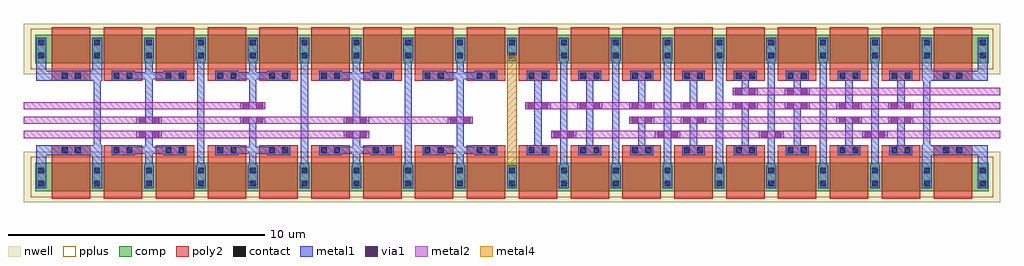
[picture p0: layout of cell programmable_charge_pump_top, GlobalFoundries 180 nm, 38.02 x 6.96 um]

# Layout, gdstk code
import gdstk
lib = gdstk.Library(unit=1e-6, precision=5e-09)
def R(c, l, rs):  # rectangles x0, y0, x1, y1
    for r in rs: c.add(gdstk.rectangle(r[:2], r[2:], *l))
def A(c, l, x, y, w, h, nx, ny, dx, dy):  # array of equal rectangles
    R(c, l, [(x+i*dx, y+j*dy, x+i*dx+w, y+j*dy+h) for i in range(nx) for j in range(ny)])
nwell = (21, 0)
comp = (22, 0)
poly2 = (30, 0)
pplus = (31, 0)
contact = (33, 0)
metal1 = (34, 0)
via1 = (35, 0)
metal2 = (36, 0)
metal4 = (46, 0)

pfet = lib.new_cell('pfet')

pfet_2 = lib.new_cell('pfet$2')
R(pfet_2, nwell, [(-0.9,-0.44,37.12,1.54)])
R(pfet_2, comp, [(-0.46,0,0,1.1), (0,0,36.22,1.1), (36.22,0,36.68,1.1)])
A(pfet_2, poly2, 0.19, -0.3, 1.5, 1.7, 18, 1, 2.02, 0)
A(pfet_2, poly2, 0.19, 1.4, 1.5, 0.38, 18, 1, 2.02, 0)
R(pfet_2, pplus, [(-0.63,-0.24,36.85,1.34)])
A(pfet_2, contact, 1.84, 0.185, 0.22, 0.22, 17, 2, 2.02, 0.51)
R(pfet_2, contact, [(-0.34,0.185,-0.12,0.405), (36.34,0.185,36.56,0.405), (-0.34,0.695,-0.12,0.915), (36.34,0.695,36.56,0.915), (0.575,1.48,0.795,1.7), (1.085,1.48,1.305,1.7), (2.595,1.48,2.815,1.7), (3.105,1.48,3.325,1.7), (4.615,1.48,4.835,1.7), (5.125,1.48,5.345,1.7), (6.635,1.48,6.855,1.7), (7.145,1.48,7.365,1.7), (8.655,1.48,8.875,1.7), (9.165,1.48,9.385,1.7), (10.675,1.48,10.895,1.7), (11.185,1.48,11.405,1.7), (12.695,1.48,12.915,1.7), (13.205,1.48,13.425,1.7), (14.715,1.48,14.935,1.7), (15.225,1.48,15.445,1.7), (16.735,1.48,16.955,1.7), (17.245,1.48,17.465,1.7), (18.755,1.48,18.975,1.7), (19.265,1.48,19.485,1.7), (20.775,1.48,20.995,1.7), (21.285,1.48,21.505,1.7), (22.795,1.48,23.015,1.7), (23.305,1.48,23.525,1.7), (24.815,1.48,25.035,1.7), (25.325,1.48,25.545,1.7), (26.835,1.48,27.055,1.7), (27.345,1.48,27.565,1.7), (28.855,1.48,29.075,1.7), (29.365,1.48,29.585,1.7), (30.875,1.48,31.095,1.7), (31.385,1.48,31.605,1.7), (32.895,1.48,33.115,1.7), (33.405,1.48,33.625,1.7), (34.915,1.48,35.135,1.7), (35.425,1.48,35.645,1.7)])
A(pfet_2, metal1, 1.76, 0.105, 0.38, 0.89, 17, 1, 2.02, 0)
A(pfet_2, metal1, 0.495, 1.4, 0.89, 0.38, 18, 1, 2.02, 0)
R(pfet_2, metal1, [(-0.42,0.105,-0.04,0.995), (36.26,0.105,36.64,0.995)])

pfet_3 = lib.new_cell('pfet$3')
R(pfet_3, nwell, [(-0.9,-0.44,37.12,1.54)])
R(pfet_3, comp, [(-0.46,0,0,1.1), (0,0,36.22,1.1), (36.22,0,36.68,1.1)])
A(pfet_3, poly2, 0.19, -0.68, 1.5, 0.38, 18, 1, 2.02, 0)
A(pfet_3, poly2, 0.19, -0.3, 1.5, 1.7, 18, 1, 2.02, 0)
R(pfet_3, pplus, [(-0.63,-0.24,36.85,1.34)])
A(pfet_3, contact, 1.84, 0.185, 0.22, 0.22, 17, 2, 2.02, 0.51)
R(pfet_3, contact, [(0.575,-0.6,0.795,-0.38), (1.085,-0.6,1.305,-0.38), (2.595,-0.6,2.815,-0.38), (3.105,-0.6,3.325,-0.38), (4.615,-0.6,4.835,-0.38), (5.125,-0.6,5.345,-0.38), (6.635,-0.6,6.855,-0.38), (7.145,-0.6,7.365,-0.38), (8.655,-0.6,8.875,-0.38), (9.165,-0.6,9.385,-0.38), (10.675,-0.6,10.895,-0.38), (11.185,-0.6,11.405,-0.38), (12.695,-0.6,12.915,-0.38), (13.205,-0.6,13.425,-0.38), (14.715,-0.6,14.935,-0.38), (15.225,-0.6,15.445,-0.38), (16.735,-0.6,16.955,-0.38), (17.245,-0.6,17.465,-0.38), (18.755,-0.6,18.975,-0.38), (19.265,-0.6,19.485,-0.38), (20.775,-0.6,20.995,-0.38), (21.285,-0.6,21.505,-0.38), (22.795,-0.6,23.015,-0.38), (23.305,-0.6,23.525,-0.38), (24.815,-0.6,25.035,-0.38), (25.325,-0.6,25.545,-0.38), (26.835,-0.6,27.055,-0.38), (27.345,-0.6,27.565,-0.38), (28.855,-0.6,29.075,-0.38), (29.365,-0.6,29.585,-0.38), (30.875,-0.6,31.095,-0.38), (31.385,-0.6,31.605,-0.38), (32.895,-0.6,33.115,-0.38), (33.405,-0.6,33.625,-0.38), (34.915,-0.6,35.135,-0.38), (35.425,-0.6,35.645,-0.38), (-0.34,0.185,-0.12,0.405), (36.34,0.185,36.56,0.405), (-0.34,0.695,-0.12,0.915), (36.34,0.695,36.56,0.915)])
A(pfet_3, metal1, 0.495, -0.68, 0.89, 0.38, 18, 1, 2.02, 0)
A(pfet_3, metal1, 1.76, 0.105, 0.38, 0.89, 17, 1, 2.02, 0)
R(pfet_3, metal1, [(-0.42,0.105,-0.04,0.995), (36.26,0.105,36.64,0.995)])

m1_m2 = lib.new_cell('M1_M2')
R(m1_m2, via1, [(0.1,0.01,0.36,0.27), (0.62,0.01,0.88,0.27)])
m1_m2.add(gdstk.FlexPath([(0,0.14),(0.98,0.14)], 0.28, ends="flush", simple_path=True, layer=34, datatype=0))  # metal1
m1_m2.add(gdstk.FlexPath([(0,0.14),(0.98,0.14)], 0.28, ends="flush", simple_path=True, layer=36, datatype=0))  # metal2

programmable_charge_pump = lib.new_cell('programmable_charge_pump_top')
programmable_charge_pump.add(gdstk.FlexPath([(1.32,4.075),(1.32,4.67),(2.045,4.67)], 0.38, ends="flush", simple_path=True, layer=34, datatype=0))  # metal1
programmable_charge_pump.add(gdstk.FlexPath([(2.935,4.67),(3.5,4.67),(3.5,4.075)], 0.38, ends="flush", simple_path=True, layer=34, datatype=0))  # metal1
programmable_charge_pump.add(gdstk.FlexPath([(1.32,8.165),(1.32,7.57),(2.045,7.57)], 0.38, ends="flush", simple_path=True, layer=34, datatype=0))  # metal1
programmable_charge_pump.add(gdstk.FlexPath([(2.935,7.57),(3.5,7.57),(3.5,8.165)], 0.38, ends="flush", simple_path=True, layer=34, datatype=0))  # metal1
programmable_charge_pump.add(gdstk.FlexPath([(35.82,4.075),(35.82,4.67),(36.385,4.67)], 0.38, ends="flush", simple_path=True, layer=34, datatype=0))  # metal1
programmable_charge_pump.add(gdstk.FlexPath([(37.275,4.67),(38,4.67),(38,4.075)], 0.38, ends="flush", simple_path=True, layer=34, datatype=0))  # metal1
programmable_charge_pump.add(gdstk.FlexPath([(35.82,8.165),(35.82,7.57),(36.385,7.57)], 0.38, ends="flush", simple_path=True, layer=34, datatype=0))  # metal1
programmable_charge_pump.add(gdstk.FlexPath([(37.275,7.57),(38,7.57),(38,8.165)], 0.38, ends="flush", simple_path=True, layer=34, datatype=0))  # metal1
programmable_charge_pump.add(gdstk.FlexPath([(35.82,4.67),(35.82,7.57)], 0.28, ends="flush", simple_path=True, layer=34, datatype=0))  # metal1
programmable_charge_pump.add(gdstk.FlexPath([(31.78,4.075),(31.78,8.165)], 0.28, ends="flush", simple_path=True, layer=34, datatype=0))  # metal1
programmable_charge_pump.add(gdstk.FlexPath([(27.74,4.075),(27.74,8.165)], 0.28, ends="flush", simple_path=True, layer=34, datatype=0))  # metal1
programmable_charge_pump.add(gdstk.FlexPath([(23.7,4.075),(23.7,8.165)], 0.28, ends="flush", simple_path=True, layer=34, datatype=0))  # metal1
programmable_charge_pump.add(gdstk.FlexPath([(3.5,4.67),(3.5,7.57)], 0.28, ends="flush", simple_path=True, layer=34, datatype=0))  # metal1
programmable_charge_pump.add(gdstk.FlexPath([(11.58,4.075),(11.58,8.165)], 0.28, ends="flush", simple_path=True, layer=34, datatype=0))  # metal1
programmable_charge_pump.add(gdstk.FlexPath([(15.62,4.075),(15.62,8.165)], 0.28, ends="flush", simple_path=True, layer=34, datatype=0))  # metal1
programmable_charge_pump.add(gdstk.FlexPath([(7.54,4.075),(7.54,8.165)], 0.28, ends="flush", simple_path=True, layer=34, datatype=0))  # metal1
programmable_charge_pump.add(gdstk.FlexPath([(20.67,7.38),(20.67,4.86)], 0.28, ends="flush", simple_path=True, layer=34, datatype=0))  # metal1
programmable_charge_pump.add(gdstk.FlexPath([(22.69,4.86),(22.69,7.38)], 0.28, ends="flush", simple_path=True, layer=34, datatype=0))  # metal1
programmable_charge_pump.add(gdstk.FlexPath([(21.68,4.075),(21.68,8.165)], 0.28, ends="flush", simple_path=True, layer=34, datatype=0))  # metal1
programmable_charge_pump.add(gdstk.FlexPath([(24.71,7.38),(24.71,6.54)], 0.28, ends="flush", simple_path=True, layer=34, datatype=0))  # metal1
programmable_charge_pump.add(gdstk.FlexPath([(26.73,7.38),(26.73,6.54)], 0.28, ends="flush", simple_path=True, layer=34, datatype=0))  # metal1
programmable_charge_pump.add(gdstk.FlexPath([(28.75,4.86),(28.75,6.26)], 0.28, ends="flush", simple_path=True, layer=34, datatype=0))  # metal1
programmable_charge_pump.add(gdstk.FlexPath([(30.77,4.86),(30.77,6.26)], 0.28, ends="flush", simple_path=True, layer=34, datatype=0))  # metal1
programmable_charge_pump.add(gdstk.FlexPath([(32.79,7.38),(32.79,6.54)], 0.28, ends="flush", simple_path=True, layer=34, datatype=0))  # metal1
programmable_charge_pump.add(gdstk.FlexPath([(34.81,7.38),(34.81,6.54)], 0.28, ends="flush", simple_path=True, layer=34, datatype=0))  # metal1
programmable_charge_pump.add(gdstk.FlexPath([(25.72,4.075),(25.72,8.165)], 0.28, ends="flush", simple_path=True, layer=34, datatype=0))  # metal1
programmable_charge_pump.add(gdstk.FlexPath([(29.76,4.075),(29.76,8.165)], 0.28, ends="flush", simple_path=True, layer=34, datatype=0))  # metal1
programmable_charge_pump.add(gdstk.FlexPath([(33.8,4.075),(33.8,8.165)], 0.28, ends="flush", simple_path=True, layer=34, datatype=0))  # metal1
programmable_charge_pump.add(gdstk.FlexPath([(26.73,4.86),(26.73,5.7)], 0.28, ends="flush", simple_path=True, layer=34, datatype=0))  # metal1
programmable_charge_pump.add(gdstk.FlexPath([(24.71,4.86),(24.71,5.7)], 0.28, ends="flush", simple_path=True, layer=34, datatype=0))  # metal1
programmable_charge_pump.add(gdstk.FlexPath([(32.79,4.86),(32.79,5.7)], 0.28, ends="flush", simple_path=True, layer=34, datatype=0))  # metal1
programmable_charge_pump.add(gdstk.FlexPath([(34.81,4.86),(34.81,5.7)], 0.28, ends="flush", simple_path=True, layer=34, datatype=0))  # metal1
programmable_charge_pump.add(gdstk.FlexPath([(30.77,7.38),(30.77,7.1)], 0.28, ends="flush", simple_path=True, layer=34, datatype=0))  # metal1
programmable_charge_pump.add(gdstk.FlexPath([(28.75,7.38),(28.75,7.1)], 0.28, ends="flush", simple_path=True, layer=34, datatype=0))  # metal1
programmable_charge_pump.add(gdstk.FlexPath([(17.075,7.57),(18.205,7.57)], 0.28, ends="flush", simple_path=True, layer=34, datatype=0))  # metal1
programmable_charge_pump.add(gdstk.FlexPath([(17.075,4.67),(18.205,4.67)], 0.28, ends="flush", simple_path=True, layer=34, datatype=0))  # metal1
programmable_charge_pump.add(gdstk.FlexPath([(17.64,4.075),(17.64,8.165)], 0.28, ends="flush", simple_path=True, layer=34, datatype=0))  # metal1
programmable_charge_pump.add(gdstk.FlexPath([(13.6,4.81),(13.6,5.14)], 0.28, ends="flush", simple_path=True, layer=34, datatype=0))  # metal1
programmable_charge_pump.add(gdstk.FlexPath([(13.035,7.57),(14.165,7.57)], 0.28, ends="flush", simple_path=True, layer=34, datatype=0))  # metal1
programmable_charge_pump.add(gdstk.FlexPath([(13.035,4.67),(14.165,4.67)], 0.28, ends="flush", simple_path=True, layer=34, datatype=0))  # metal1
programmable_charge_pump.add(gdstk.FlexPath([(13.6,4.075),(13.6,4.81)], 0.28, ends="flush", simple_path=True, layer=34, datatype=0))  # metal1
programmable_charge_pump.add(gdstk.FlexPath([(13.6,8.165),(13.6,7.43)], 0.28, ends="flush", simple_path=True, layer=34, datatype=0))  # metal1
programmable_charge_pump.add(gdstk.FlexPath([(8.995,7.57),(10.125,7.57)], 0.28, ends="flush", simple_path=True, layer=34, datatype=0))  # metal1
programmable_charge_pump.add(gdstk.FlexPath([(8.995,4.67),(10.125,4.67)], 0.28, ends="flush", simple_path=True, layer=34, datatype=0))  # metal1
programmable_charge_pump.add(gdstk.FlexPath([(9.56,4.075),(9.56,4.81)], 0.28, ends="flush", simple_path=True, layer=34, datatype=0))  # metal1
programmable_charge_pump.add(gdstk.FlexPath([(9.56,8.165),(9.56,7.43)], 0.28, ends="flush", simple_path=True, layer=34, datatype=0))  # metal1
programmable_charge_pump.add(gdstk.FlexPath([(4.955,7.57),(6.085,7.57)], 0.28, ends="flush", simple_path=True, layer=34, datatype=0))  # metal1
programmable_charge_pump.add(gdstk.FlexPath([(4.955,4.67),(6.085,4.67)], 0.28, ends="flush", simple_path=True, layer=34, datatype=0))  # metal1
programmable_charge_pump.add(gdstk.FlexPath([(5.52,4.075),(5.52,4.81)], 0.28, ends="flush", simple_path=True, layer=34, datatype=0))  # metal1
programmable_charge_pump.add(gdstk.FlexPath([(5.52,8.165),(5.52,7.43)], 0.28, ends="flush", simple_path=True, layer=34, datatype=0))  # metal1
programmable_charge_pump.add(gdstk.FlexPath([(13.6,7.43),(13.6,5.98)], 0.28, ends="flush", simple_path=True, layer=34, datatype=0))  # metal1
programmable_charge_pump.add(gdstk.FlexPath([(5.52,4.81),(5.52,5.14)], 0.28, ends="flush", simple_path=True, layer=34, datatype=0))  # metal1
programmable_charge_pump.add(gdstk.FlexPath([(5.52,7.43),(5.52,5.98)], 0.28, ends="flush", simple_path=True, layer=34, datatype=0))  # metal1
programmable_charge_pump.add(gdstk.FlexPath([(9.56,7.43),(9.56,6.54)], 0.28, ends="flush", simple_path=True, layer=34, datatype=0))  # metal1
programmable_charge_pump.add(gdstk.FlexPath([(9.56,4.81),(9.56,5.7)], 0.28, ends="flush", simple_path=True, layer=34, datatype=0))  # metal1
programmable_charge_pump.add(gdstk.FlexPath([(20.18,6.4),(38.67,6.4)], 0.28, ends="flush", simple_path=True, layer=36, datatype=0))  # metal2
programmable_charge_pump.add(gdstk.FlexPath([(21.19,5.28),(38.67,5.28)], 0.28, ends="flush", simple_path=True, layer=36, datatype=0))  # metal2
programmable_charge_pump.add(gdstk.FlexPath([(24.22,5.84),(38.67,5.84)], 0.28, ends="flush", simple_path=True, layer=36, datatype=0))  # metal2
programmable_charge_pump.add(gdstk.FlexPath([(28.26,6.96),(38.67,6.96)], 0.28, ends="flush", simple_path=True, layer=36, datatype=0))  # metal2
programmable_charge_pump.add(gdstk.FlexPath([(18.13,5.84),(0.65,5.84)], 0.28, ends="flush", simple_path=True, layer=36, datatype=0))  # metal2
programmable_charge_pump.add(gdstk.FlexPath([(14.09,5.28),(0.65,5.28)], 0.28, ends="flush", simple_path=True, layer=36, datatype=0))  # metal2
programmable_charge_pump.add(gdstk.FlexPath([(10.05,6.4),(0.65,6.4)], 0.28, ends="flush", simple_path=True, layer=36, datatype=0))  # metal2
programmable_charge_pump.add(gdstk.FlexPath([(19.66,4.075),(19.66,8.345)], 0.38, ends="flush", simple_path=True, layer=46, datatype=0))  # metal4
programmable_charge_pump.add(gdstk.Reference(pfet, (2.51,2.11)))
programmable_charge_pump.add(gdstk.Reference(pfet_2, (1.55,3.08)))
programmable_charge_pump.add(gdstk.Reference(pfet_3, (1.55,8.06)))
programmable_charge_pump.add(gdstk.Reference(m1_m2, (13.11,5.14)))
programmable_charge_pump.add(gdstk.Reference(m1_m2, (13.11,5.7)))
programmable_charge_pump.add(gdstk.Reference(m1_m2, (20.18,6.26)))
programmable_charge_pump.add(gdstk.Reference(m1_m2, (28.26,6.82)))
programmable_charge_pump.add(gdstk.Reference(m1_m2, (22.2,6.26)))
programmable_charge_pump.add(gdstk.Reference(m1_m2, (21.19,5.14)))
programmable_charge_pump.add(gdstk.Reference(m1_m2, (24.22,6.26)))
programmable_charge_pump.add(gdstk.Reference(m1_m2, (26.24,6.26)))
programmable_charge_pump.add(gdstk.Reference(m1_m2, (28.26,6.26)))
programmable_charge_pump.add(gdstk.Reference(m1_m2, (30.28,6.26)))
programmable_charge_pump.add(gdstk.Reference(m1_m2, (32.3,6.26)))
programmable_charge_pump.add(gdstk.Reference(m1_m2, (34.32,6.26)))
programmable_charge_pump.add(gdstk.Reference(m1_m2, (25.23,5.14)))
programmable_charge_pump.add(gdstk.Reference(m1_m2, (29.27,5.14)))
programmable_charge_pump.add(gdstk.Reference(m1_m2, (33.31,5.14)))
programmable_charge_pump.add(gdstk.Reference(m1_m2, (24.22,5.7)))
programmable_charge_pump.add(gdstk.Reference(m1_m2, (26.24,5.7)))
programmable_charge_pump.add(gdstk.Reference(m1_m2, (30.28,6.82)))
programmable_charge_pump.add(gdstk.Reference(m1_m2, (32.3,5.7)))
programmable_charge_pump.add(gdstk.Reference(m1_m2, (34.32,5.7)))
programmable_charge_pump.add(gdstk.Reference(m1_m2, (17.15,5.7)))
programmable_charge_pump.add(gdstk.Reference(m1_m2, (5.03,5.14)))
programmable_charge_pump.add(gdstk.Reference(m1_m2, (5.03,5.7)))
programmable_charge_pump.add(gdstk.Reference(m1_m2, (9.07,5.7)))
programmable_charge_pump.add(gdstk.Reference(m1_m2, (9.07,6.26)))

lib.write_gds('programmable_charge_pump_top.gds')
